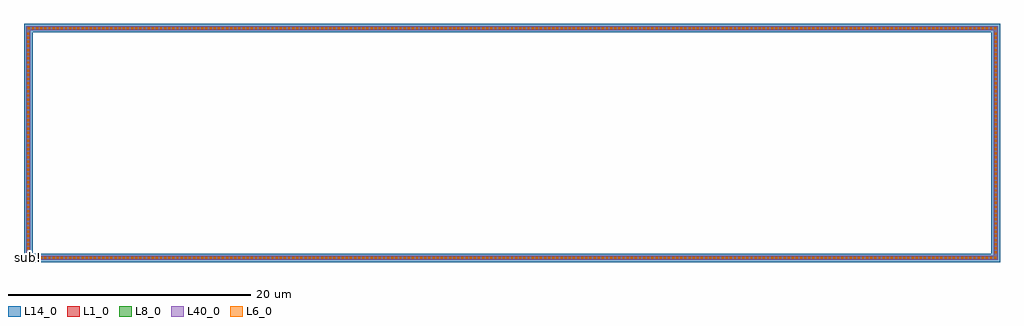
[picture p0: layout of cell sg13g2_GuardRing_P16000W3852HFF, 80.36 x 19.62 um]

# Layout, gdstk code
import gdstk
lib = gdstk.Library(unit=1e-6, precision=1e-09)
def R(c, l, rs):  # rectangles x0, y0, x1, y1
    for r in rs: c.add(gdstk.rectangle(r[:2], r[2:], *l))
def A(c, l, x, y, w, h, nx, ny, dx, dy):  # array of equal rectangles
    R(c, l, [(x+i*dx, y+j*dy, x+i*dx+w, y+j*dy+h) for i in range(nx) for j in range(ny)])
def P(c, l, *ps):  # polygons
    for p in ps: c.add(gdstk.Polygon(p, *l))
L1_0 = (1, 0)
L6_0 = (6, 0)
L8_0 = (8, 0)
L14_0 = (14, 0)
L40_0 = (40, 0)

sg13g2_guardring_p16000w = lib.new_cell('sg13g2_GuardRing_P16000W3852HFF')
P(sg13g2_guardring_p16000w, L1_0, [(-40,-9.63),(-40,9.29),(-39.66,9.29),(-39.66,-9.29),(39.66,-9.29),(39.66,9.29),(-40,9.29),(-40,9.63),(40,9.63),(40,-9.63)])
A(sg13g2_guardring_p16000w, L6_0, -39.86, -9.54, 0.16, 0.16, 235, 2, 0.34, 18.92)
A(sg13g2_guardring_p16000w, L6_0, -39.91, -9.09, 0.16, 0.16, 1, 54, 0, 0.34)
A(sg13g2_guardring_p16000w, L6_0, 39.75, -9.09, 0.16, 0.16, 1, 54, 0, 0.34)
P(sg13g2_guardring_p16000w, L8_0, [(-40,-9.63),(-40,9.29),(-39.66,9.29),(-39.66,-9.29),(39.66,-9.29),(39.66,9.29),(-40,9.29),(-40,9.63),(40,9.63),(40,-9.63)])
P(sg13g2_guardring_p16000w, L14_0, [(-40.18,-9.81),(-40.18,9.11),(-39.48,9.11),(-39.48,-9.11),(39.48,-9.11),(39.48,9.11),(-40.18,9.11),(-40.18,9.81),(40.18,9.81),(40.18,-9.81)])
P(sg13g2_guardring_p16000w, L40_0, [(-40,-9.63),(-40,9.29),(-39.66,9.29),(-39.66,-9.29),(39.66,-9.29),(39.66,9.29),(-40,9.29),(-40,9.63),(40,9.63),(40,-9.63)])
sg13g2_guardring_p16000w.add(gdstk.Label('sub!', (-39.83,-9.46), layer=63, texttype=0))

lib.write_gds('sg13g2_GuardRing_P16000W3852HFF.gds')
